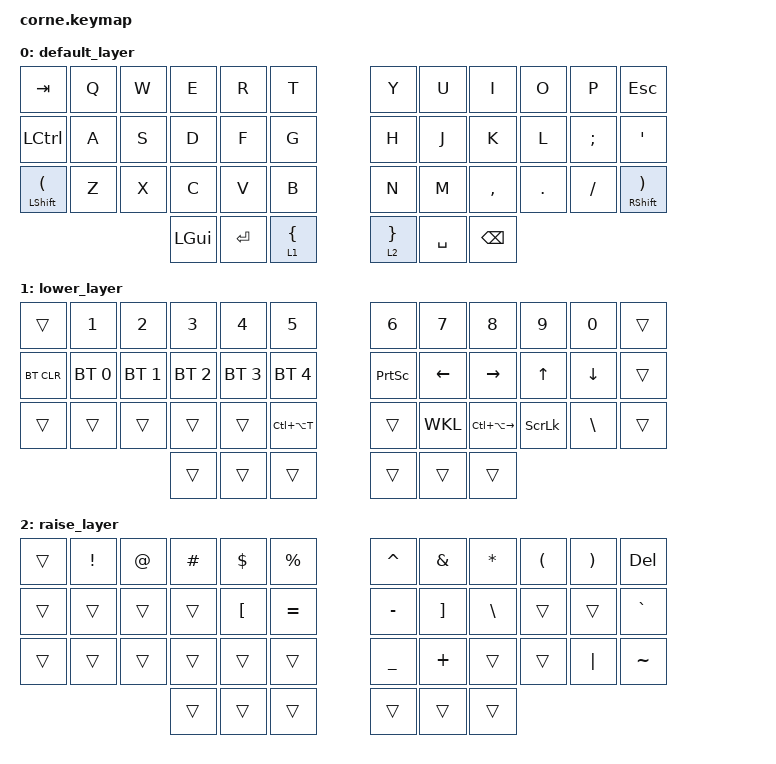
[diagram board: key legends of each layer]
/*
 * Copyright (c) 2020 The ZMK Contributors
 *
 * SPDX-License-Identifier: MIT
 */

#include <behaviors.dtsi>
#include <dt-bindings/zmk/bt.h>
#include <dt-bindings/zmk/keys.h>

/ {
    macros {
        WKL: WKL {
            compatible = "zmk,behavior-macro";
            #binding-cells = <0>;
            bindings = <&macro_tap>, <&kp LC(LA(LEFT_ARROW)) &kp LEFT_CONTROL>;
        };

        WKR: WKR {
            compatible = "zmk,behavior-macro";
            #binding-cells = <0>;
            bindings = <&macro_tap>, <&kp LA(LC(RIGHT)) &kp LEFT_CONTROL>;

            label = "WKR";
        };
    };
};

/ {
    keymap {
        compatible = "zmk,keymap";

        default_layer {
            // -----------------------------------------------------------------------------------------
            // |  TAB |  Q  |  W  |  E  |  R  |  T  |   |  Y  |  U   |  I  |  O  |  P  | ALT |
            // | CTRL |  A  |  S  |  D  |  F  |  G  |   |  H  |  J   |  K  |  L  |  ;  |  '   |
            // | SHFT |  Z  |  X  |  C  |  V  |  B  |   |  N  |  M   |  ,  |  .  |  /  | ESC  |
            //                    | GUI | LWR | ENT |   | RSE | SPC | BSPC |

            bindings = <
&kp TAB                     &kp Q  &kp W  &kp E     &kp R      &kp T               &kp Y              &kp U      &kp I      &kp O    &kp P     &kp ESCAPE
&kp LCTRL                   &kp A  &kp S  &kp D     &kp F      &kp G               &kp H              &kp J      &kp K      &kp L    &kp SEMI  &kp SQT
&mt LSHFT LEFT_PARENTHESIS  &kp Z  &kp X  &kp C     &kp V      &kp B               &kp N              &kp M      &kp COMMA  &kp DOT  &kp FSLH  &mt RIGHT_SHIFT RIGHT_PARENTHESIS
                                          &kp LGUI  &kp ENTER  &lt 1 LEFT_BRACE    &lt 2 RIGHT_BRACE  &kp SPACE  &kp BSPC
            >;
        };

        lower_layer {
            // -----------------------------------------------------------------------------------------
            // |  TAB |  1  |  2  |  3  |  4  |  5  |   |  6  |  7  |  8  |  9  |  0  |      |
            // | BTCLR| BT1 | BT2 | BT3 | BT4 | BT5 |   | LFT | DWN |  UP | RGT |     |      |
            // | SHFT |     |     |     |     |     |   |     |  WKL   | WKR    |     |     |      |
            //                    |     |     |     |   |     |     |     |

            bindings = <
&trans      &kp N1        &kp N2        &kp N3        &kp N4        &kp N5           &kp N6           &kp N7    &kp N8             &kp N9          &kp N0         &trans
&bt BT_CLR  &bt BT_SEL 0  &bt BT_SEL 1  &bt BT_SEL 2  &bt BT_SEL 3  &bt BT_SEL 4     &kp PRINTSCREEN  &kp LEFT  &kp RIGHT          &kp UP          &kp DOWN       &trans
&trans      &trans        &trans        &trans        &trans        &kp LC(LA(T))    &trans           &WKL      &kp LC(LA(RIGHT))  &kp SCROLLLOCK  &kp BACKSLASH  &trans
                                        &trans        &trans        &trans           &trans           &trans    &trans
            >;
        };

        raise_layer {
            // -----------------------------------------------------------------------------------------
            // |  TAB |  !  |  @  |  #  |  $  |  %  |   |  ^  |  &  |  *  |  (  |  )  |      |
            // | CTRL |     |     |     |     |     |   |  -  |  =  |  [  |  ]  |  \  |  `   |
            // | SHFT |     |     |     |     |     |   |  _  |  +  |  {  |  }  | "|" |  ~   |
            //                    |     |     |     |   |     |     |     |

            bindings = <
&trans  &kp EXCL  &kp AT  &kp HASH  &kp DLLR          &kp PRCNT    &kp CARET  &kp AMPS           &kp ASTRK      &kp LPAR  &kp RPAR  &kp DELETE
&trans  &trans    &trans  &trans    &kp LEFT_BRACKET  &kp EQUAL    &kp MINUS  &kp RIGHT_BRACKET  &kp BACKSLASH  &trans    &trans    &kp GRAVE
&trans  &trans    &trans  &trans    &trans            &trans       &kp UNDER  &kp PLUS           &trans         &trans    &kp PIPE  &kp TILDE
                          &trans    &trans            &trans       &trans     &trans             &trans
            >;
        };
    };
};
